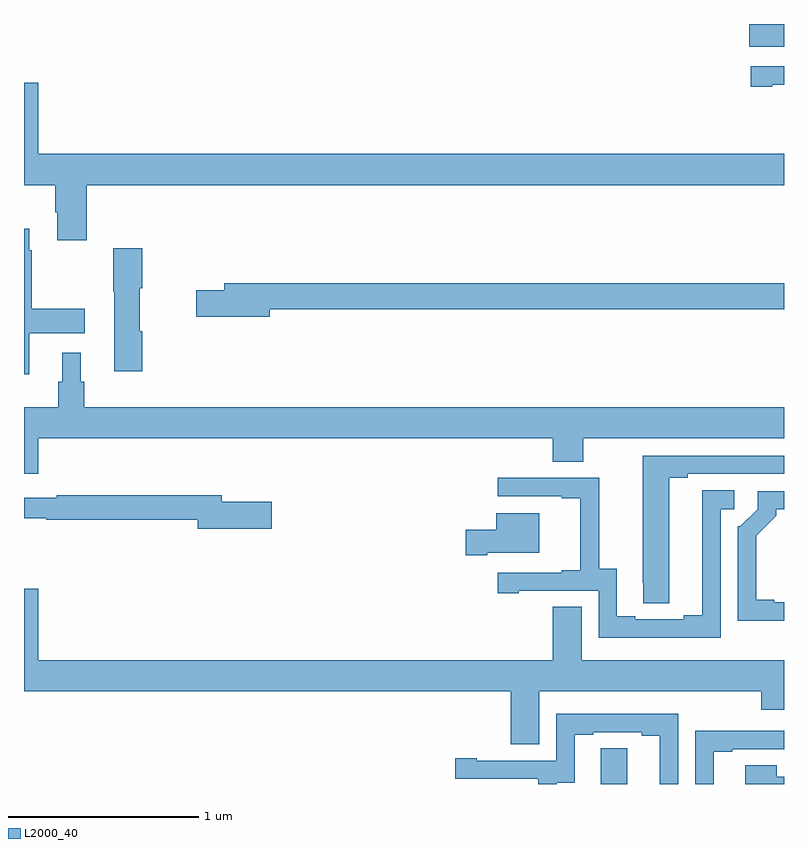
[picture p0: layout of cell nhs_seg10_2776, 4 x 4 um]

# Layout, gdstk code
import gdstk
lib = gdstk.Library(unit=1e-6, precision=1e-09)
def R(c, l, rs):  # rectangles x0, y0, x1, y1
    for r in rs: c.add(gdstk.rectangle(r[:2], r[2:], *l))
def P(c, l, *ps):  # polygons
    for p in ps: c.add(gdstk.Polygon(p, *l))
L2000_40 = (2000, 40)

nhs_seg10_2776 = lib.new_cell('nhs_seg10_2776')
R(nhs_seg10_2776, L2000_40, [(264.818,1298.381,265,1298.5)])
P(nhs_seg10_2776, L2000_40, [(264.937,1298.181),(265,1298.181),(265,1298.277),(264.825,1298.277),(264.825,1298.169),(264.937,1298.169)],
  [(261.329,1297.652),(265,1297.652),(265,1297.816),(261.076,1297.816),(261.076,1298.191),(261,1298.191),(261,1297.652),(261.164,1297.652),(261.164,1297.51),(261.176,1297.51),(261.176,1297.362),(261.329,1297.362)],
  [(261.028,1296.872),(261.319,1296.872),(261.319,1297.002),(261.04,1297.002),(261.04,1297.31),(261.028,1297.31),(261.028,1297.423),(261,1297.423),(261,1296.656),(261.028,1296.656)],
  [(261.623,1296.884),(261.61,1296.884),(261.61,1297.108),(261.623,1297.108),(261.623,1297.321),(261.469,1297.321),(261.469,1297.09),(261.476,1297.09),(261.476,1296.672),(261.623,1296.672)],
  [(262.294,1297),(265,1297),(265,1297.136),(262.055,1297.136),(262.055,1297.1),(261.906,1297.1),(261.906,1296.958),(262.294,1296.958)],
  [(261.317,1296.618),(261.298,1296.618),(261.298,1296.769),(261.2,1296.769),(261.2,1296.618),(261.181,1296.618),(261.181,1296.484),(261,1296.484),(261,1296.132),(261.076,1296.132),(261.076,1296.32),(263.783,1296.32),(263.783,1296.196),(263.943,1296.196),(263.943,1296.32),(265,1296.32),(265,1296.484),(261.317,1296.484)],
  [(264.397,1296.112),(264.493,1296.112),(264.493,1296.132),(265,1296.132),(265,1296.228),(264.257,1296.228),(264.257,1295.56),(264.258,1295.56),(264.258,1295.452),(264.397,1295.452)],
  [(264.666,1295.946),(264.739,1295.946),(264.739,1296.047),(264.569,1296.047),(264.569,1295.387),(264.473,1295.387),(264.473,1295.367),(264.217,1295.367),(264.217,1295.382),(264.121,1295.382),(264.121,1295.633),(264.027,1295.633),(264.027,1296.111),(263.493,1296.111),(263.493,1296.015),(263.831,1296.015),(263.831,1296.003),(263.927,1296.003),(263.927,1295.626),(263.831,1295.626),(263.831,1295.613),(263.493,1295.613),(263.493,1295.505),(263.605,1295.505),(263.605,1295.517),(264.024,1295.517),(264.024,1295.271),(264.666,1295.271)],
  [(265,1295.457),(264.949,1295.457),(264.949,1295.47),(264.853,1295.47),(264.853,1295.806),(264.958,1295.911),(264.958,1295.946),(265,1295.946),(265,1296.042),(264.861,1296.042),(264.861,1295.946),(264.771,1295.856),(264.756,1295.856),(264.756,1295.36),(265,1295.36)],
  [(262.303,1295.985),(262.042,1295.985),(262.042,1296.019),(261.172,1296.019),(261.172,1296.006),(261,1296.006),(261,1295.898),(261.118,1295.898),(261.118,1295.89),(261.914,1295.89),(261.914,1295.843),(262.303,1295.843)],
  [(263.437,1295.717),(263.713,1295.717),(263.713,1295.926),(263.486,1295.926),(263.486,1295.839),(263.325,1295.839),(263.325,1295.705),(263.437,1295.705)],
  [(263.713,1294.988),(264.881,1294.988),(264.881,1294.89),(265,1294.89),(265,1295.152),(263.935,1295.152),(263.935,1295.432),(263.783,1295.432),(263.783,1295.152),(261.076,1295.152),(261.076,1295.527),(261,1295.527),(261,1294.988),(263.561,1294.988),(263.561,1294.708),(263.713,1294.708)],
  [(263.805,1294.507),(263.899,1294.507),(263.899,1294.758),(263.995,1294.758),(263.995,1294.773),(264.251,1294.773),(264.251,1294.753),(264.347,1294.753),(264.347,1294.5),(264.444,1294.5),(264.444,1294.869),(263.802,1294.869),(263.802,1294.623),(263.383,1294.623),(263.383,1294.636),(263.271,1294.636),(263.271,1294.527),(263.705,1294.527),(263.705,1294.526),(263.706,1294.526),(263.706,1294.5),(263.805,1294.5)],
  [(264.631,1294.671),(264.727,1294.671),(264.727,1294.683),(264.992,1294.683),(264.992,1294.682),(265,1294.682),(265,1294.779),(264.797,1294.779),(264.797,1294.781),(264.534,1294.781),(264.534,1294.5),(264.631,1294.5)],
  [(264.175,1294.688),(264.036,1294.688),(264.036,1294.58),(264.035,1294.58),(264.035,1294.5),(264.175,1294.5)],
  [(265,1294.537),(264.961,1294.537),(264.961,1294.598),(264.797,1294.598),(264.797,1294.5),(265,1294.5)])

lib.write_gds('nhs_seg10_2776.gds')
